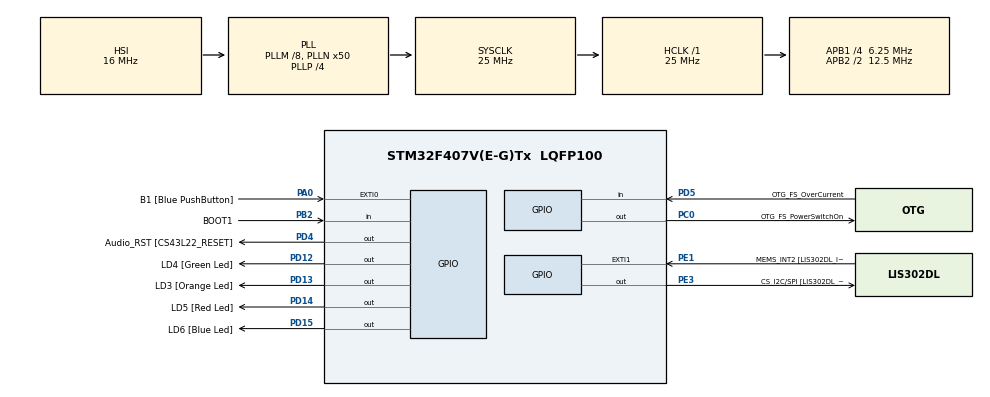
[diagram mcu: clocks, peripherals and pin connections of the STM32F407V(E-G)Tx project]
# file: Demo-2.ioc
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Mcu.Family=STM32F4
Mcu.Name=STM32F407V(E-G)Tx
Mcu.Package=LQFP100
NVIC.PriorityGroup=NVIC_PRIORITYGROUP_4
NVIC.TIM6_DAC_IRQn=true\:0\:0\:false\:false\:true\:false\:true\:true
NVIC.TimeBase=TIM6_DAC_IRQn
NVIC.TimeBaseIP=TIM6
PA0-WKUP.GPIO_Label=B1 [Blue PushButton]
PA0-WKUP.Signal=GPXTI0
PA10.GPIO_Label=OTG_FS_ID
PA10.GPIO_Mode=GPIO_MODE_AF_PP
PA10.GPIO_PuPd=GPIO_NOPULL
PA10.GPIO_Speed=GPIO_SPEED_FREQ_LOW
PA10.Signal=USB_OTG_FS_ID
PA11.GPIO_Label=OTG_FS_DM
PA11.GPIO_Mode=GPIO_MODE_AF_PP
PA11.GPIO_PuPd=GPIO_NOPULL
PA11.GPIO_Speed=GPIO_SPEED_FREQ_LOW
PA11.Signal=USB_OTG_FS_DM
PA12.GPIO_Label=OTG_FS_DP
PA12.GPIO_Mode=GPIO_MODE_AF_PP
PA12.GPIO_PuPd=GPIO_NOPULL
PA12.GPIO_Speed=GPIO_SPEED_FREQ_LOW
PA12.Signal=USB_OTG_FS_DP
PA13.GPIO_Label=SWDIO
PA13.Signal=SYS_JTMS-SWDIO
PA14.GPIO_Label=SWCLK
PA14.Signal=SYS_JTCK-SWCLK
PA4.GPIO_Label=I2S3_WS [CS43L22_LRCK]
PA4.GPIO_Mode=GPIO_MODE_AF_PP
PA4.GPIO_PuPd=GPIO_NOPULL
PA4.GPIO_Speed=GPIO_SPEED_FREQ_LOW
PA4.Signal=I2S3_WS
PA5.GPIO_Label=SPI1_SCK [LIS302DL_SCL/SPC]
PA5.GPIO_Mode=GPIO_MODE_AF_PP
PA5.GPIO_PuPd=GPIO_NOPULL
PA5.GPIO_Speed=GPIO_SPEED_FREQ_LOW
PA5.Signal=SPI1_SCK
PA6.GPIO_Label=SPI1_MISO [LIS302DL_SDO]
PA6.GPIO_Mode=GPIO_MODE_AF_PP
PA6.GPIO_PuPd=GPIO_NOPULL
PA6.GPIO_Speed=GPIO_SPEED_FREQ_LOW
PA6.Signal=SPI1_MISO
PA7.GPIO_Label=SPI1_MOSI [LIS302DL_SDA/SDI/SDO]
PA7.GPIO_Mode=GPIO_MODE_AF_PP
PA7.GPIO_PuPd=GPIO_NOPULL
PA7.GPIO_Speed=GPIO_SPEED_FREQ_LOW
PA7.Signal=SPI1_MOSI
PA9.GPIO_Label=VBUS_FS
PA9.GPIO_Mode=GPIO_MODE_INPUT
PA9.GPIO_PuPd=GPIO_NOPULL
PA9.Signal=USB_OTG_FS_VBUS
PB10.GPIO_Label=CLK_IN [MP45DT02_CLK]
PB10.GPIO_Mode=GPIO_MODE_AF_PP
PB10.GPIO_PuPd=GPIO_NOPULL
PB10.GPIO_Speed=GPIO_SPEED_FREQ_LOW
PB10.Signal=I2S2_CK
PB2.GPIO_Label=BOOT1
PB2.GPIO_Mode=GPIO_MODE_INPUT
PB2.GPIO_PuPd=GPIO_NOPULL
PB2.Signal=GPIO_Input
PB3.GPIO_Label=SWO
PB3.Signal=SYS_JTDO-SWO
PB6.GPIO_Label=Audio_SCL [CS43L22_SCL]
PB6.GPIO_Mode=GPIO_MODE_AF_OD
PB6.GPIO_PuPd=GPIO_NOPULL
PB6.GPIO_Speed=GPIO_SPEED_FREQ_LOW
PB6.Signal=I2C1_SCL
PB9.GPIO_Label=Audio_SDA [CS43L22_SDA]
PB9.GPIO_Mode=GPIO_MODE_AF_OD
PB9.GPIO_PuPd=GPIO_NOPULL
PB9.GPIO_Speed=GPIO_SPEED_FREQ_LOW
PB9.Signal=I2C1_SDA
PC0.GPIO_Label=OTG_FS_PowerSwitchOn
PC0.GPIO_PuPd=GPIO_NOPULL
PC0.GPIO_Speed=GPIO_SPEED_FREQ_LOW
PC0.PinState=GPIO_PIN_SET
PC0.Signal=GPIO_Output
PC10.GPIO_Label=I2S3_SCK [CS43L22_SCLK]
PC10.GPIO_Mode=GPIO_MODE_AF_PP
PC10.GPIO_PuPd=GPIO_NOPULL
PC10.GPIO_Speed=GPIO_SPEED_FREQ_LOW
PC10.Signal=I2S3_CK
PC12.GPIO_Label=I2S3_SD [CS43L22_SDIN]
PC12.GPIO_Mode=GPIO_MODE_AF_PP
PC12.GPIO_PuPd=GPIO_NOPULL
PC12.GPIO_Speed=GPIO_SPEED_FREQ_LOW
PC12.Signal=I2S3_SD
PC14-OSC32_IN.GPIO_Label=PC14-OSC32_IN
PC14-OSC32_IN.Signal=RCC_OSC32_IN
PC15-OSC32_OUT.GPIO_Label=PC15-OSC32_OUT
PC15-OSC32_OUT.Signal=RCC_OSC32_OUT
PC3.GPIO_Label=PDM_OUT [MP45DT02_DOUT]
PC3.GPIO_Mode=GPIO_MODE_AF_PP
PC3.GPIO_PuPd=GPIO_NOPULL
PC3.GPIO_Speed=GPIO_SPEED_FREQ_LOW
PC3.Signal=I2S2_SD
PC7.GPIO_Label=I2S3_MCK [CS43L22_MCLK]
PC7.GPIO_Mode=GPIO_MODE_AF_PP
PC7.GPIO_PuPd=GPIO_NOPULL
PC7.GPIO_Speed=GPIO_SPEED_FREQ_LOW
PC7.Signal=I2S3_MCK
PD12.GPIO_Label=LD4 [Green Led]
PD12.GPIO_PuPd=GPIO_NOPULL
PD12.GPIO_Speed=GPIO_SPEED_FREQ_LOW
PD12.Signal=GPIO_Output
PD13.GPIO_Label=LD3 [Orange Led]
PD13.GPIO_PuPd=GPIO_NOPULL
PD13.GPIO_Speed=GPIO_SPEED_FREQ_LOW
PD13.Signal=GPIO_Output
PD14.GPIO_Label=LD5 [Red Led]
PD14.GPIO_PuPd=GPIO_NOPULL
PD14.GPIO_Speed=GPIO_SPEED_FREQ_LOW
PD14.Signal=GPIO_Output
PD15.GPIO_Label=LD6 [Blue Led]
PD15.GPIO_PuPd=GPIO_NOPULL
PD15.GPIO_Speed=GPIO_SPEED_FREQ_LOW
PD15.Signal=GPIO_Output
PD4.GPIO_Label=Audio_RST [CS43L22_RESET]
PD4.GPIO_PuPd=GPIO_NOPULL
PD4.GPIO_Speed=GPIO_SPEED_FREQ_LOW
PD4.Signal=GPIO_Output
PD5.GPIO_Label=OTG_FS_OverCurrent
PD5.GPIO_Mode=GPIO_MODE_INPUT
PD5.GPIO_PuPd=GPIO_NOPULL
PD5.Signal=GPIO_Input
PE1.GPIO_Label=MEMS_INT2 [LIS302DL_INT2]
PE1.GPIO_ModeDefaultEXTI=GPIO_MODE_EVT_RISING
PE1.GPIO_PuPd=GPIO_NOPULL
PE1.Signal=GPXTI1
PE3.GPIO_Label=CS_I2C/SPI [LIS302DL_CS_I2C/SPI]
PE3.GPIO_PuPd=GPIO_NOPULL
PE3.GPIO_Speed=GPIO_SPEED_FREQ_LOW
PE3.Signal=GPIO_Output
PH0-OSC_IN.GPIO_Label=PH0-OSC_IN
PH0-OSC_IN.Signal=RCC_OSC_IN
PH1-OSC_OUT.GPIO_Label=PH1-OSC_OUT
PH1-OSC_OUT.Signal=RCC_OSC_OUT
ProjectManager.HeapSize=0x200
ProjectManager.StackSize=0x400
ProjectManager.TargetToolchain=STM32CubeIDE
RCC.48MHZClocksFreq_Value=14285714.285714285
RCC.AHBFreq_Value=25000000
RCC.APB1CLKDivider=RCC_HCLK_DIV4
RCC.APB1Freq_Value=6250000
RCC.APB1TimFreq_Value=12500000
RCC.APB2CLKDivider=RCC_HCLK_DIV2
RCC.APB2Freq_Value=12500000
RCC.APB2TimFreq_Value=25000000
RCC.CortexFreq_Value=25000000
RCC.HCLKFreq_Value=25000000
RCC.HSE_VALUE=8000000
RCC.HSI_VALUE=16000000
RCC.LSE_VALUE=32768
RCC.PLLM=8
RCC.PLLN=50
RCC.PLLP=RCC_PLLP_DIV4
RCC.PLLQ=7
RCC.SYSCLKFreq_VALUE=25000000
RCC.SYSCLKSource=RCC_SYSCLKSOURCE_PLLCLK
RCC.VCOOutputFreq_Value=100000000
VP_SYS_VS_tim6.Mode=TIM6
board=STM32F407G-DISC1

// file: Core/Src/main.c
/* USER CODE BEGIN Header */
/**
  ******************************************************************************
  * @file           : main.c
  * @brief          : Main program body
  ******************************************************************************
  * @attention
  *
  * Copyright (c) 2024 STMicroelectronics.
  * All rights reserved.
  *
  * This software is licensed under terms that can be found in the LICENSE file
  * in the root directory of this software component.
  * If no LICENSE file comes with this software, it is provided AS-IS.
  *
  ******************************************************************************
  */
/* USER CODE END Header */
#include "main.h"

/* USER CODE BEGIN Includes */
#include <stdio.h>
#include "FreeRTOS.h"
#include "task.h"
/* USER CODE END Includes */

/* USER CODE BEGIN PV */

//  Cycle count registers

#define DWT_CTRL    (*(volatile uint32_t*) 0xE0001000)

/* USER CODE END PV */

void SystemClock_Config(void);
static void MX_GPIO_Init(void);
/* USER CODE BEGIN PFP */

static void task1_handler(void* parameters);
static void task2_handler(void* parameters);
/* USER CODE END PFP */

int main(void)
{
  /* USER CODE BEGIN 1 */
	TaskHandle_t task1_handle;
	TaskHandle_t task2_handle;

	BaseType_t status;
  /* USER CODE END 1 */

  /* MCU Configuration--------------------------------------------------------*/

  /* Reset of all peripherals, Initializes the Flash interface and the Systick. */
  HAL_Init();

  /* Configure the system clock */
  SystemClock_Config();

  /* Initialize all configured peripherals */
  MX_GPIO_Init();
  /* USER CODE BEGIN 2 */

  // Enable the CYCCNT counter.

  DWT_CTRL |=  ( 1 << 0);

  // this is needed for seggar_uart communication
  // Also set HCLK to 168 Mhz
  SEGGER_UART_init(500000);

  SEGGER_SYSVIEW_Conf();

  // As this function is getting called in seggar_uart.c
  //SEGGER_SYSVIEW_Start();

  status = xTaskCreate(task1_handler, "Task-1", 200, "Hello world from Task-1", 2, &task1_handle);

  configASSERT(status == pdPASS);

  status = xTaskCreate(task2_handler, "Task-2", 200, "Hello world from Task-2", 2, &task2_handle);

  configASSERT(status == pdPASS);

  //start the freeRTOS scheduler
  vTaskStartScheduler();

  //if the control comes here, then the launch of the scheduler has failed due to
  //insufficient memory in heap
  /* USER CODE END 2 */

  /* Infinite loop */
  while (1)
  {

  }
}

void SystemClock_Config(void)
{
  RCC_OscInitTypeDef RCC_OscInitStruct = {0};
  RCC_ClkInitTypeDef RCC_ClkInitStruct = {0};

  /** Configure the main internal regulator output voltage
  */
  __HAL_RCC_PWR_CLK_ENABLE();
  __HAL_PWR_VOLTAGESCALING_CONFIG(PWR_REGULATOR_VOLTAGE_SCALE1);

  /** Initializes the RCC Oscillators according to the specified parameters
  * in the RCC_OscInitTypeDef structure.
  */
  RCC_OscInitStruct.OscillatorType = RCC_OSCILLATORTYPE_HSI;
  RCC_OscInitStruct.HSIState = RCC_HSI_ON;
  RCC_OscInitStruct.HSICalibrationValue = RCC_HSICALIBRATION_DEFAULT;
  RCC_OscInitStruct.PLL.PLLState = RCC_PLL_ON;
  RCC_OscInitStruct.PLL.PLLSource = RCC_PLLSOURCE_HSI;
  RCC_OscInitStruct.PLL.PLLM = 8;
  RCC_OscInitStruct.PLL.PLLN = 50;
  RCC_OscInitStruct.PLL.PLLP = RCC_PLLP_DIV4;
  RCC_OscInitStruct.PLL.PLLQ = 7;
  if (HAL_RCC_OscConfig(&RCC_OscInitStruct) != HAL_OK)
  {
    Error_Handler();
  }

  /** Initializes the CPU, AHB and APB buses clocks
  */
  RCC_ClkInitStruct.ClockType = RCC_CLOCKTYPE_HCLK|RCC_CLOCKTYPE_SYSCLK
                              |RCC_CLOCKTYPE_PCLK1|RCC_CLOCKTYPE_PCLK2;
  RCC_ClkInitStruct.SYSCLKSource = RCC_SYSCLKSOURCE_PLLCLK;
  RCC_ClkInitStruct.AHBCLKDivider = RCC_SYSCLK_DIV1;
  RCC_ClkInitStruct.APB1CLKDivider = RCC_HCLK_DIV4;
  RCC_ClkInitStruct.APB2CLKDivider = RCC_HCLK_DIV2;

  if (HAL_RCC_ClockConfig(&RCC_ClkInitStruct, FLASH_LATENCY_0) != HAL_OK)
  {
    Error_Handler();
  }
}

static void MX_GPIO_Init(void)
{
  GPIO_InitTypeDef GPIO_InitStruct = {0};

  /* GPIO Ports Clock Enable */
  __HAL_RCC_GPIOE_CLK_ENABLE();
  __HAL_RCC_GPIOC_CLK_ENABLE();
  __HAL_RCC_GPIOH_CLK_ENABLE();
  __HAL_RCC_GPIOA_CLK_ENABLE();
  __HAL_RCC_GPIOB_CLK_ENABLE();
  __HAL_RCC_GPIOD_CLK_ENABLE();

  /*Configure GPIO pin Output Level */
  HAL_GPIO_WritePin(CS_I2C_SPI_GPIO_Port, CS_I2C_SPI_Pin, GPIO_PIN_RESET);

  /*Configure GPIO pin Output Level */
  HAL_GPIO_WritePin(OTG_FS_PowerSwitchOn_GPIO_Port, OTG_FS_PowerSwitchOn_Pin, GPIO_PIN_SET);

  /*Configure GPIO pin Output Level */
  HAL_GPIO_WritePin(GPIOD, LD4_Pin|LD3_Pin|LD5_Pin|LD6_Pin
                          |Audio_RST_Pin, GPIO_PIN_RESET);

  /*Configure GPIO pin : CS_I2C_SPI_Pin */
  GPIO_InitStruct.Pin = CS_I2C_SPI_Pin;
  GPIO_InitStruct.Mode = GPIO_MODE_OUTPUT_PP;
  GPIO_InitStruct.Pull = GPIO_NOPULL;
  GPIO_InitStruct.Speed = GPIO_SPEED_FREQ_LOW;
  HAL_GPIO_Init(CS_I2C_SPI_GPIO_Port, &GPIO_InitStruct);

  /*Configure GPIO pin : OTG_FS_PowerSwitchOn_Pin */
  GPIO_InitStruct.Pin = OTG_FS_PowerSwitchOn_Pin;
  GPIO_InitStruct.Mode = GPIO_MODE_OUTPUT_PP;
  GPIO_InitStruct.Pull = GPIO_NOPULL;
  GPIO_InitStruct.Speed = GPIO_SPEED_FREQ_LOW;
  HAL_GPIO_Init(OTG_FS_PowerSwitchOn_GPIO_Port, &GPIO_InitStruct);

  /*Configure GPIO pin : PDM_OUT_Pin */
  GPIO_InitStruct.Pin = PDM_OUT_Pin;
  GPIO_InitStruct.Mode = GPIO_MODE_AF_PP;
  GPIO_InitStruct.Pull = GPIO_NOPULL;
  GPIO_InitStruct.Speed = GPIO_SPEED_FREQ_LOW;
  GPIO_InitStruct.Alternate = GPIO_AF5_SPI2;
  HAL_GPIO_Init(PDM_OUT_GPIO_Port, &GPIO_InitStruct);

  /*Configure GPIO pin : B1_Pin */
  GPIO_InitStruct.Pin = B1_Pin;
  GPIO_InitStruct.Mode = GPIO_MODE_IT_RISING;
  GPIO_InitStruct.Pull = GPIO_NOPULL;
  HAL_GPIO_Init(B1_GPIO_Port, &GPIO_InitStruct);

  /*Configure GPIO pin : I2S3_WS_Pin */
  GPIO_InitStruct.Pin = I2S3_WS_Pin;
  GPIO_InitStruct.Mode = GPIO_MODE_AF_PP;
  GPIO_InitStruct.Pull = GPIO_NOPULL;
  GPIO_InitStruct.Speed = GPIO_SPEED_FREQ_LOW;
  GPIO_InitStruct.Alternate = GPIO_AF6_SPI3;
  HAL_GPIO_Init(I2S3_WS_GPIO_Port, &GPIO_InitStruct);

  /*Configure GPIO pins : SPI1_SCK_Pin SPI1_MISO_Pin SPI1_MOSI_Pin */
  GPIO_InitStruct.Pin = SPI1_SCK_Pin|SPI1_MISO_Pin|SPI1_MOSI_Pin;
  GPIO_InitStruct.Mode = GPIO_MODE_AF_PP;
  GPIO_InitStruct.Pull = GPIO_NOPULL;
  GPIO_InitStruct.Speed = GPIO_SPEED_FREQ_LOW;
  GPIO_InitStruct.Alternate = GPIO_AF5_SPI1;
  HAL_GPIO_Init(GPIOA, &GPIO_InitStruct);

  /*Configure GPIO pin : BOOT1_Pin */
  GPIO_InitStruct.Pin = BOOT1_Pin;
  GPIO_InitStruct.Mode = GPIO_MODE_INPUT;
  GPIO_InitStruct.Pull = GPIO_NOPULL;
  HAL_GPIO_Init(BOOT1_GPIO_Port, &GPIO_InitStruct);

  /*Configure GPIO pin : CLK_IN_Pin */
  GPIO_InitStruct.Pin = CLK_IN_Pin;
  GPIO_InitStruct.Mode = GPIO_MODE_AF_PP;
  GPIO_InitStruct.Pull = GPIO_NOPULL;
  GPIO_InitStruct.Speed = GPIO_SPEED_FREQ_LOW;
  GPIO_InitStruct.Alternate = GPIO_AF5_SPI2;
  HAL_GPIO_Init(CLK_IN_GPIO_Port, &GPIO_InitStruct);

  /*Configure GPIO pins : LD4_Pin LD3_Pin LD5_Pin LD6_Pin
                           Audio_RST_Pin */
  GPIO_InitStruct.Pin = LD4_Pin|LD3_Pin|LD5_Pin|LD6_Pin
                          |Audio_RST_Pin;
  GPIO_InitStruct.Mode = GPIO_MODE_OUTPUT_PP;
  GPIO_InitStruct.Pull = GPIO_NOPULL;
  GPIO_InitStruct.Speed = GPIO_SPEED_FREQ_LOW;
  HAL_GPIO_Init(GPIOD, &GPIO_InitStruct);

  /*Configure GPIO pins : I2S3_MCK_Pin I2S3_SCK_Pin I2S3_SD_Pin */
  GPIO_InitStruct.Pin = I2S3_MCK_Pin|I2S3_SCK_Pin|I2S3_SD_Pin;
  GPIO_InitStruct.Mode = GPIO_MODE_AF_PP;
  GPIO_InitStruct.Pull = GPIO_NOPULL;
  GPIO_InitStruct.Speed = GPIO_SPEED_FREQ_LOW;
  GPIO_InitStruct.Alternate = GPIO_AF6_SPI3;
  HAL_GPIO_Init(GPIOC, &GPIO_InitStruct);

  /*Configure GPIO pin : VBUS_FS_Pin */
  GPIO_InitStruct.Pin = VBUS_FS_Pin;
  GPIO_InitStruct.Mode = GPIO_MODE_INPUT;
  GPIO_InitStruct.Pull = GPIO_NOPULL;
  HAL_GPIO_Init(VBUS_FS_GPIO_Port, &GPIO_InitStruct);

  /*Configure GPIO pins : OTG_FS_ID_Pin OTG_FS_DM_Pin OTG_FS_DP_Pin */
  GPIO_InitStruct.Pin = OTG_FS_ID_Pin|OTG_FS_DM_Pin|OTG_FS_DP_Pin;
  GPIO_InitStruct.Mode = GPIO_MODE_AF_PP;
  GPIO_InitStruct.Pull = GPIO_NOPULL;
  GPIO_InitStruct.Speed = GPIO_SPEED_FREQ_LOW;
  GPIO_InitStruct.Alternate = GPIO_AF10_OTG_FS;
  HAL_GPIO_Init(GPIOA, &GPIO_InitStruct);

  /*Configure GPIO pin : OTG_FS_OverCurrent_Pin */
  GPIO_InitStruct.Pin = OTG_FS_OverCurrent_Pin;
  GPIO_InitStruct.Mode = GPIO_MODE_INPUT;
  GPIO_InitStruct.Pull = GPIO_NOPULL;
  HAL_GPIO_Init(OTG_FS_OverCurrent_GPIO_Port, &GPIO_InitStruct);

  /*Configure GPIO pins : Audio_SCL_Pin Audio_SDA_Pin */
  GPIO_InitStruct.Pin = Audio_SCL_Pin|Audio_SDA_Pin;
  GPIO_InitStruct.Mode = GPIO_MODE_AF_OD;
  GPIO_InitStruct.Pull = GPIO_NOPULL;
  GPIO_InitStruct.Speed = GPIO_SPEED_FREQ_LOW;
  GPIO_InitStruct.Alternate = GPIO_AF4_I2C1;
  HAL_GPIO_Init(GPIOB, &GPIO_InitStruct);

  /*Configure GPIO pin : MEMS_INT2_Pin */
  GPIO_InitStruct.Pin = MEMS_INT2_Pin;
  GPIO_InitStruct.Mode = GPIO_MODE_EVT_RISING;
  GPIO_InitStruct.Pull = GPIO_NOPULL;
  HAL_GPIO_Init(MEMS_INT2_GPIO_Port, &GPIO_InitStruct);

}

/* USER CODE BEGIN 4 */
static void task1_handler(void* parameters)
{

	char msg[100];

	while(1)
	{
		snprintf(msg,100,"%s\n", (char*)parameters);
		SEGGER_SYSVIEW_PrintfTarget(msg);
		taskYIELD();
	}

}

static void task2_handler(void* parameters)
{
	char msg[100];
	while(1)
	{
		snprintf(msg,100,"%s\n", (char*)parameters);
		SEGGER_SYSVIEW_PrintfTarget(msg);
		taskYIELD();
	}

}
/* USER CODE END 4 */

void HAL_TIM_PeriodElapsedCallback(TIM_HandleTypeDef *htim)
{
  if (htim->Instance == TIM6) {
    HAL_IncTick();
  }
}

void Error_Handler(void)
{
  __disable_irq();
  while (1)
  {
  }
}
